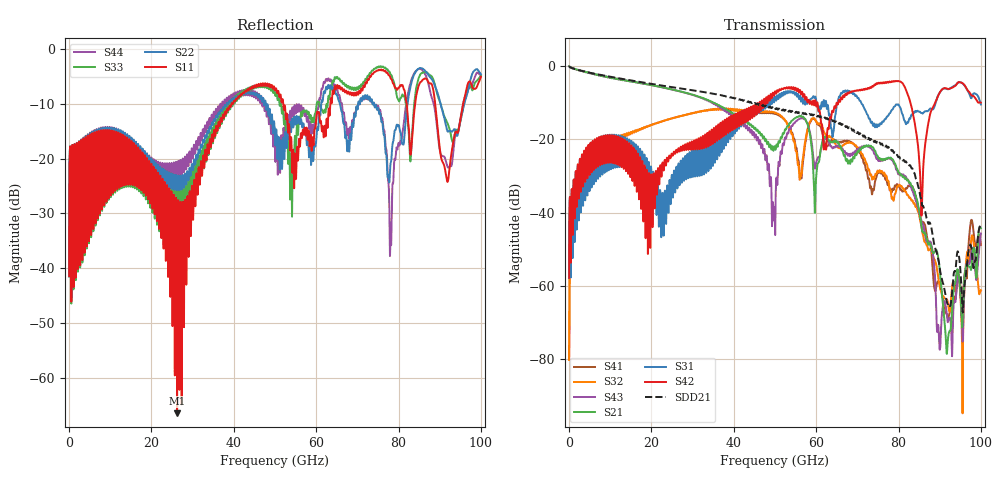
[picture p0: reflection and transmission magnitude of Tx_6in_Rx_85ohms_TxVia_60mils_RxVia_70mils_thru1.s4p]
! Info: Touchstone file created by Circ.  Input file=Tx_6in_Rx_85ohms_TxVia_60mils_RxVia_70mils.circ
# Hz S RI R 50
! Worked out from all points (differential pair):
!   10000 points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, 10 MHz to 100 GHz, reference 50 ohm
!   strongest paths, dB at 10 MHz, 25.01 GHz, 50.01 GHz, 75.01 GHz, 100 GHz:
!     S42: -57.7, -24.1, -6.9, -4.8, -10.0
!     S31: -57.7, -30.0, -8.4, -15.9, -10.5
!     S21: -0.1, -6.4, -22.4, -24.8, -44.2
!     S43: -0.1, -6.4, -44.3, -25.7, -45.7
!     S32: -80.1, -14.3, -12.8, -28.7, -61.2
!     S41: -80.1, -14.3, -13.1, -29.1, -48.8
!   taken as a pair (ports 1,3 in; 2,4 out), SDD21 dB: -0.1, -5.8, -11.6, -20.9, -43.4
!   lowest |S11| = -66.5 dB at 26.23 GHz (marker M1), VSWR 1.00, Z = 50 - j0.0395 ohm
!   |S11| at or under -10 dB: start of sweep to 39.43 GHz; 52 GHz to 63.41 GHz (11.41 GHz wide, 19.8 % of centre); 88.91 GHz to 95.7 GHz (6.792 GHz wide, 7.36 % of centre)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
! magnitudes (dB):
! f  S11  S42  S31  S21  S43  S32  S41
! 10 MHz  -41.4  -57.7  -57.7  -0.1  -0.1  -80.1  -80.1
! 3.7 GHz  -24.7  -23.2  -23.5  -1.5  -1.5  -27.2  -27.2
! 26.23 GHz  -66.5  -23.5  -31.4  -6.7  -6.8  -13.9  -13.9
! 78.37 GHz  -5.6  -4.2  -12.0  -25.4  -25.7  -36.2  -34.4
! 85.56 GHz  -5.9  -40.8  -12.8  -43.4  -42.3  -43.8  -42.4
! 91.83 GHz  -24.2  -6.2  -6.3  -77.2  -69.1  -63.8  -67.9
! 100 GHz  -5.1  -10.0  -10.5  -44.2  -45.7  -61.2  -48.8
